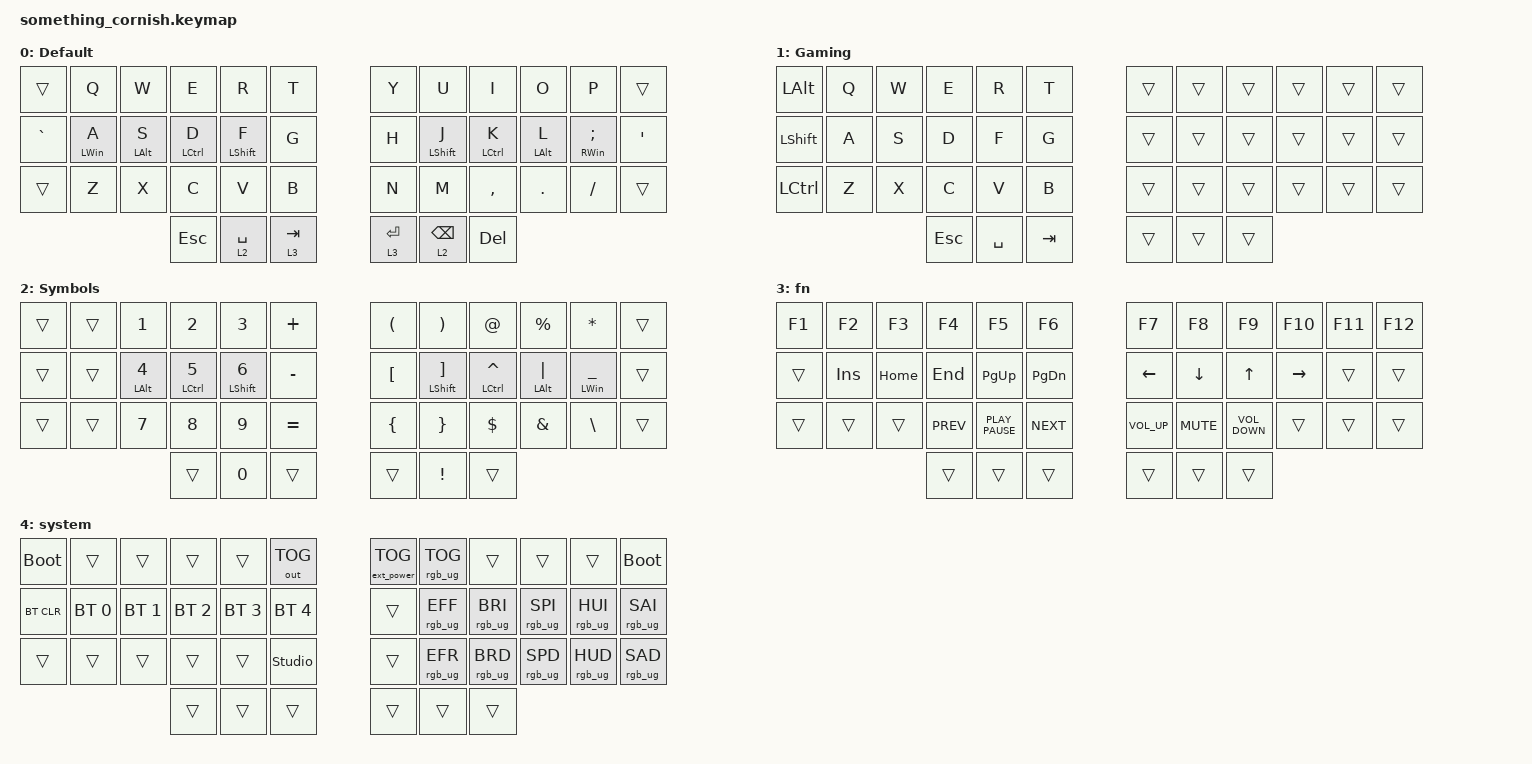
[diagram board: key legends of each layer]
#include <behaviors.dtsi>
#include <dt-bindings/zmk/bt.h>
#include <dt-bindings/zmk/ext_power.h>
#include <dt-bindings/zmk/keys.h>
#include <dt-bindings/zmk/outputs.h>
#include <dt-bindings/zmk/rgb.h>

&mt {
    tapping-term-ms = <175>;
    quick-tap-ms = <175>;
    flavor = "tap-preferred";
};

&lt {
    flavor = "tap-preferred";
    tapping-term-ms = <175>;
    quick-tap-ms = <175>;
};

/ {
    combos {
        compatible = "zmk,combos";

        capslock {
            bindings = <&kp CLCK>;
            key-positions = <16 19>;
            layers = <0>;
            slow-release;
        };

        gotosys {
            bindings = <&mo 4>;
            key-positions = <36 41>;
            slow-release;
        };

        gaming-mode {
            bindings = <&tog 1>;
            key-positions = <0 11>;
            slow-release;
        };
    };

    keymap {
        compatible = "zmk,keymap";

        home {
            display-name = "Default";
            // --------------------------------------------------------------------------------
            // |   |  Q  |  W  |  E  |  R  |  T  |   |  Y  |  U   |  I  |  O  |  P  |      |
            // | ` |  A  |  S  |  D  |  F  |  G  |   |  H  |  J   |  K  |  L  |  ;  |  '   | 
            // |   |  Z  |  X  |  C  |  V  |  B  |   |  N  |  M   |  ,  |  .  |  /  |      |
            //                 | ESC | SPC | TAB |   | ENT | BAK  | DEL |
            bindings = <
&trans     &kp Q           &kp W           &kp E        &kp R        &kp T        &kp Y        &kp U            &kp I        &kp O           &kp P          &trans
&kp GRAVE  &mt LEFT_WIN A  &mt LEFT_ALT S  &mt LCTRL D  &mt LSHFT F  &kp G        &kp H        &mt LSHFT J      &mt LCTRL K  &mt LEFT_ALT L  &mt RWIN SEMI  &kp SQT
&trans     &kp Z           &kp X           &kp C        &kp V        &kp B        &kp N        &kp M            &kp COMMA    &kp DOT         &kp FSLH       &trans
                                           &kp ESC      &lt 2 SPACE  &lt 3 TAB    &lt 3 ENTER  &lt 2 BACKSPACE  &kp DEL
            >;
        };

        gaming {
            display-name = "Gaming";
            // --------------------------------------------------------------------------------
            // |   |  Q  |  W  |  E  |  R  |  T  |   |  Y  |  U   |  I  |  O  |  P  |      |
            // | ` |  A  |  S  |  D  |  F  |  G  |   |  H  |  J   |  K  |  L  |  ;  |  '   | 
            // |   |  Z  |  X  |  C  |  V  |  B  |   |  N  |  M   |  ,  |  .  |  /  |      |
            //                 | ESC | SPC | TAB |   | ENT | BAK  | DEL |
            bindings = <
&kp LALT   &kp Q  &kp W  &kp E       &kp R      &kp T      &trans  &trans  &trans  &trans  &trans  &trans
&kp LSHFT  &kp A  &kp S  &kp D       &kp F      &kp G      &trans  &trans  &trans  &trans  &trans  &trans
&kp LCTRL  &kp Z  &kp X  &kp C       &kp V      &kp B      &trans  &trans  &trans  &trans  &trans  &trans
                         &kp ESCAPE  &kp SPACE  &kp TAB    &trans  &trans  &trans
            >;
        };

        symbol {
            display-name = "Symbols";

            // -----------------------------------------------------------------------------------------
            // |  |  | 1 | 2 | 3 | + |  | ( | ) | @ | % | * |   |
            // |  |  | 4 | 5 | 6 | - |  | [ | ] | ^ | | | _ |   |
            // |  |  | 7 | 8 | 9 | = |  | { | } | $ | & | \ |   |
            //           |   | 0 |   |  |   | ! |   |
            bindings = <
&trans  &trans  &kp NUMBER_1        &kp NUMBER_2        &kp NUMBER_3        &kp PLUS        &kp LPAR    &kp RPAR                &kp AT              &kp PRCNT       &kp ASTRK       &trans
&trans  &trans  &mt LALT NUMBER_4   &mt LCTRL NUMBER_5  &mt LSHFT NUMBER_6  &kp MINUS       &kp LBKT    &mt LSHFT RBKT          &mt LCTRL CARET     &mt LALT PIPE   &mt LWIN UNDER  &trans
&trans  &trans  &kp NUMBER_7        &kp NUMBER_8        &kp NUMBER_9        &kp EQUAL       &kp LBRC    &kp RBRC                &kp DLLR            &kp AMPS        &kp BSLH        &trans
                                    &trans              &kp NUMBER_0        &trans          &trans      &kp EXCL                &trans
            >;
        };

        fn {
            display-name = "fn";

            // -----------------------------------------------------------------------------------------
            // | F1 | F2  |  F3  |  F4  |  F5  |  F6  |  |  F7  |  F8  |  F9  |  F10  | F11 | F12 |
            // |    | INS | HOME | END  | P_UP | P_DW |  | LEFT | DOWN |  UP  | RIGHT |     |     |
            // |    |     |      | PREV | P_P  | NEXT |  | V_UP | V_MT | V_DW |       |     |     |
            //                   |      |      |      |  |      |      |      |
            bindings = <
&kp F1  &kp F2   &kp F3    &kp F4      &kp F5            &kp F6           &kp F7           &kp F8          &kp F9             &kp F10           &kp F11     &kp F12
&trans  &kp INS  &kp HOME  &kp END     &kp PAGE_UP       &kp PAGE_DOWN    &kp LEFT         &kp DOWN_ARROW  &kp UP_ARROW       &kp RIGHT         &trans      &trans
&trans  &trans   &trans    &kp K_PREV  &kp K_PLAY_PAUSE  &kp K_NEXT       &kp K_VOLUME_UP  &kp K_MUTE      &kp K_VOLUME_DOWN  &trans            &trans      &trans
                           &trans      &trans            &trans           &trans           &trans          &trans
            >;
        };

        system {
            display-name = "system";

            // -----------------------------------------------------------------------------------------
            // | boot   |     |     |     |     | out_tog |  | ep_tog  |         |          |         |         | boot    |
            // | bt_clr | bt0 | bt1 | bt2 | bt3 | bt4     |  | rgb_tog | rgb_eff | rgb_bri  | rgb_spi | rgb_hui | rgb_sai |
            // |        |     |     |     |     | NEXT    |  |         | rgb_efr | rgb_brd  | rgb_spd | rgb_hub | rgb_sad |
            //                      |     |     |         |  |         |         |          |
            bindings = <
&bootloader  &trans        &trans        &trans        &trans        &out OUT_TOG    &ext_power EP_TOG   &rgb_ug RGB_TOG   &trans           &trans           &trans           &bootloader
&bt BT_CLR   &bt BT_SEL 0  &bt BT_SEL 1  &bt BT_SEL 2  &bt BT_SEL 3  &bt BT_SEL 4    &trans    &rgb_ug RGB_EFF      &rgb_ug RGB_BRI  &rgb_ug RGB_SPI  &rgb_ug RGB_HUI  &rgb_ug RGB_SAI
&trans       &trans        &trans        &trans        &trans        &studio_unlock  &trans    &rgb_ug RGB_EFR     &rgb_ug RGB_BRD  &rgb_ug RGB_SPD  &rgb_ug RGB_HUD  &rgb_ug RGB_SAD
                                         &trans        &trans        &trans          &trans             &trans              &trans
            >;
        };
    };
};
